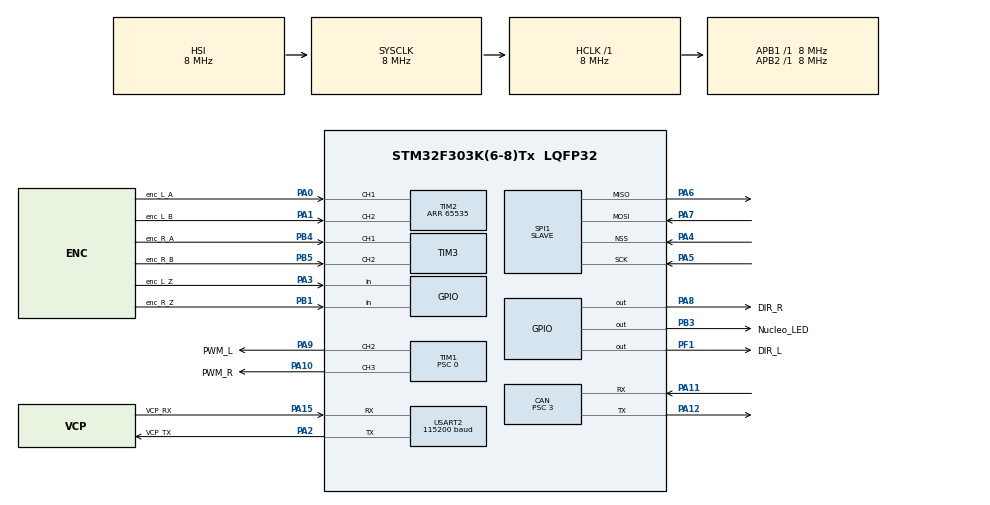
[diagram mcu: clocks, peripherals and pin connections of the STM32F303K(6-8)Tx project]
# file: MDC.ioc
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CAN.BS1=CAN_BS1_15TQ
CAN.BS2=CAN_BS2_4TQ
CAN.CalculateBaudRate=133333
CAN.CalculateTimeBit=7500
CAN.CalculateTimeQuantum=375.0
CAN.Prescaler=3
Dma.Request0=SPI1_RX
Dma.Request1=SPI1_TX
Dma.SPI1_RX.0.Direction=DMA_PERIPH_TO_MEMORY
Dma.SPI1_RX.0.Instance=DMA1_Channel2
Dma.SPI1_RX.0.MemDataAlignment=DMA_MDATAALIGN_BYTE
Dma.SPI1_RX.0.MemInc=DMA_MINC_ENABLE
Dma.SPI1_RX.0.Mode=DMA_NORMAL
Dma.SPI1_RX.0.PeriphDataAlignment=DMA_PDATAALIGN_BYTE
Dma.SPI1_RX.0.PeriphInc=DMA_PINC_DISABLE
Dma.SPI1_RX.0.Priority=DMA_PRIORITY_LOW
Dma.SPI1_TX.1.Direction=DMA_MEMORY_TO_PERIPH
Dma.SPI1_TX.1.Instance=DMA1_Channel3
Dma.SPI1_TX.1.MemDataAlignment=DMA_MDATAALIGN_BYTE
Dma.SPI1_TX.1.MemInc=DMA_MINC_ENABLE
Dma.SPI1_TX.1.Mode=DMA_NORMAL
Dma.SPI1_TX.1.PeriphDataAlignment=DMA_PDATAALIGN_BYTE
Dma.SPI1_TX.1.PeriphInc=DMA_PINC_DISABLE
Dma.SPI1_TX.1.Priority=DMA_PRIORITY_LOW
Mcu.Family=STM32F3
Mcu.Name=STM32F303K(6-8)Tx
Mcu.Package=LQFP32
NVIC.CAN_RX0_IRQn=true\:0\:0\:false\:false\:true\:true\:true\:true
NVIC.DMA1_Channel2_IRQn=true\:0\:0\:false\:false\:true\:false\:true\:true
NVIC.DMA1_Channel3_IRQn=true\:0\:0\:false\:false\:true\:false\:true\:true
NVIC.PriorityGroup=NVIC_PRIORITYGROUP_4
NVIC.TIM6_DAC1_IRQn=true\:0\:0\:true\:false\:true\:true\:true\:true
PA0.GPIO_Label=enc_L_A
PA0.Signal=S_TIM2_CH1_ETR
PA1.GPIO_Label=enc_L_B
PA1.Signal=S_TIM2_CH2
PA10.GPIO_Label=PWM_R
PA10.Signal=S_TIM1_CH3
PA11.Mode=CAN_Activate
PA11.Signal=CAN_RX
PA12.Mode=CAN_Activate
PA12.Signal=CAN_TX
PA13.GPIO_Label=SWDIO
PA13.Mode=Serial_Wire
PA13.Signal=SYS_JTMS-SWDIO
PA14.GPIO_Label=SWCLK
PA14.Mode=Serial_Wire
PA14.Signal=SYS_JTCK-SWCLK
PA15.GPIO_Label=VCP_RX
PA15.Mode=Asynchronous
PA15.Signal=USART2_RX
PA2.GPIO_Label=VCP_TX
PA2.Mode=Asynchronous
PA2.Signal=USART2_TX
PA3.GPIO_Label=enc_L_Z
PA3.Signal=GPIO_Input
PA4.Mode=NSS_Signal_Hard_Input
PA4.Signal=SPI1_NSS
PA5.Mode=Full_Duplex_Slave
PA5.Signal=SPI1_SCK
PA6.Mode=Full_Duplex_Slave
PA6.Signal=SPI1_MISO
PA7.Mode=Full_Duplex_Slave
PA7.Signal=SPI1_MOSI
PA8.GPIO_Label=DIR_R
PA8.Signal=GPIO_Output
PA9.GPIO_Label=PWM_L
PA9.Signal=S_TIM1_CH2
PB1.GPIO_Label=enc_R_Z
PB1.Signal=GPIO_Input
PB3.GPIO_Label=Nucleo_LED
PB3.Signal=GPIO_Output
PB4.GPIO_Label=enc_R_A
PB4.Signal=S_TIM3_CH1
PB5.GPIO_Label=enc_R_B
PB5.Signal=S_TIM3_CH2
PF0\ /\ OSC_IN.GPIO_Label=MCO
PF0\ /\ OSC_IN.Mode=HSE-External-Clock-Source
PF0\ /\ OSC_IN.Signal=RCC_OSC_IN
PF1\ /\ OSC_OUT.GPIO_Label=DIR_L
PF1\ /\ OSC_OUT.Signal=GPIO_Output
ProjectManager.HeapSize=0x200
ProjectManager.StackSize=0x400
ProjectManager.TargetToolchain=STM32CubeIDE
RCC.AHBFreq_Value=8000000
RCC.APB1Freq_Value=8000000
RCC.APB2Freq_Value=8000000
RCC.CortexFreq_Value=8000000
RCC.HSE_VALUE=8000000
RCC.HSI_VALUE=8000000
RCC.SYSCLKFreq_VALUE=8000000
SH.S_TIM1_CH2.0=TIM1_CH2,PWM Generation2 CH2
SH.S_TIM1_CH3.0=TIM1_CH3,PWM Generation3 CH3
SH.S_TIM2_CH1_ETR.0=TIM2_CH1,Encoder_Interface
SH.S_TIM2_CH2.0=TIM2_CH2,Encoder_Interface
SH.S_TIM3_CH1.0=TIM3_CH1,Encoder_Interface
SH.S_TIM3_CH2.0=TIM3_CH2,Encoder_Interface
SPI1.DataSize=SPI_DATASIZE_8BIT
SPI1.Direction=SPI_DIRECTION_2LINES
SPI1.Mode=SPI_MODE_SLAVE
SPI1.VirtualNSS=VM_NSSHARD
SPI1.VirtualType=VM_SLAVE
TIM1.Channel-PWM\ Generation2\ CH2=TIM_CHANNEL_2
TIM1.Channel-PWM\ Generation3\ CH3=TIM_CHANNEL_3
TIM1.Period=7999
TIM1.Prescaler=0
TIM2.EncoderMode=TIM_ENCODERMODE_TI12
TIM2.Period=65535
TIM3.EncoderMode=TIM_ENCODERMODE_TI12
TIM6.Period=7999
TIM6.Prescaler=19
TIM7.Period=7999
TIM7.Prescaler=19
USART2.BaudRate=115200
USART2.VirtualMode-Asynchronous=VM_ASYNC
VP_TIM6_VS_ClockSourceINT.Mode=Enable_Timer
VP_TIM7_VS_ClockSourceINT.Mode=Enable_Timer
board=NUCLEO-F303K8

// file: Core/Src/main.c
/* USER CODE BEGIN Header */
/**
  ******************************************************************************
  * @file           : main.c
  * @brief          : Main program body
  ******************************************************************************
  * @attention
  *
  * Copyright (c) 2024 STMicroelectronics.
  * All rights reserved.
  *
  * This software is licensed under terms that can be found in the LICENSE file
  * in the root directory of this software component.
  * If no LICENSE file comes with this software, it is provided AS-IS.
  *
  ******************************************************************************
  */
/* USER CODE END Header */
#include "main.h"

/* USER CODE BEGIN Includes */
#include <stdbool.h>
#include <stdlib.h>
#include <math.h>
#include <stdio.h>

#include "define.h"
#include "spi.h"
#include "can.h"

/* USER CODE END Includes */

CAN_HandleTypeDef hcan;

SPI_HandleTypeDef hspi1;
DMA_HandleTypeDef hdma_spi1_rx;
DMA_HandleTypeDef hdma_spi1_tx;

TIM_HandleTypeDef htim1;
TIM_HandleTypeDef htim2;
TIM_HandleTypeDef htim3;
TIM_HandleTypeDef htim6;
TIM_HandleTypeDef htim7;

UART_HandleTypeDef huart2;

void SystemClock_Config(void);
static void MX_GPIO_Init(void);
static void MX_DMA_Init(void);
static void MX_USART2_UART_Init(void);
static void MX_CAN_Init(void);
static void MX_SPI1_Init(void);
static void MX_TIM1_Init(void);
static void MX_TIM2_Init(void);
static void MX_TIM3_Init(void);
static void MX_TIM6_Init(void);
static void MX_TIM7_Init(void);

/* USER CODE BEGIN 0 */
bool g_main_loop_flag;

typedef struct{
	bool battery;
	bool command;
	bool speed;
	bool spi_timeout;
	bool power_timeout;
	bool locker_timeout;
}Error;

bool isNoError(Error e){
	return (e.battery == false)
			&& (e.command == false)
			&& (e.speed == false)
			&& (e.spi_timeout == false)
			&& (e.power_timeout == false)
			&& (e.locker_timeout == false);
}

bool errorReleaseRequest(bool sw){
	static bool last_sw = false;
	bool request;
	request = (last_sw == true) && (sw == false);
	last_sw = sw;
	return request;
}

void HAL_TIM_PeriodElapsedCallback(TIM_HandleTypeDef *htim)
{
	if(htim == &htim6)
	{
		if(g_main_loop_flag){
			printf("Control cycle is slow\r\n");
		}
		else{
			g_main_loop_flag = true;
			//printf("send state : %d\r\n",hcan.State);
			sendCanData();
		}
	}
}
/* USER CODE END 0 */

int main(void)
{

  /* MCU Configuration--------------------------------------------------------*/

  /* Reset of all peripherals, Initializes the Flash interface and the Systick. */
  HAL_Init();

  /* Configure the system clock */
  SystemClock_Config();

  /* Initialize all configured peripherals */
  MX_GPIO_Init();
  MX_DMA_Init();
  MX_USART2_UART_Init();
  MX_CAN_Init();
  MX_SPI1_Init();
  MX_TIM1_Init();
  MX_TIM2_Init();
  MX_TIM3_Init();
  MX_TIM6_Init();
  MX_TIM7_Init();
  /* USER CODE BEGIN 2 */
  HAL_Delay(100);
  	Error error = {0};
	PIDController pid;
	pid.kp = 5.0f;
	pid.ki = 0.0f;
	pid.kd = 0.0f;
	pid.kf = 3.0f;
	pid.integral_l = 0.0f;
	pid.integral_r = 0.0f;
	pid.prev_error_l = 0.0f;
	pid.prev_error_r = 0.0f;
	spiInit(&hspi1);
	canInit(&hcan);
	printf("end state : %d\r\n",hcan.State);
	HAL_TIM_Encoder_Start( &htim2, TIM_CHANNEL_ALL );
	HAL_TIM_Encoder_Start( &htim3, TIM_CHANNEL_ALL );
	HAL_TIM_PWM_Start(&htim1, TIM_CHANNEL_2);
	HAL_TIM_PWM_Start(&htim1, TIM_CHANNEL_3);
	HAL_TIM_Base_Start_IT(&htim6);
	HAL_TIM_Base_Start_IT(&htim7);
	HAL_Delay(100);
  /* USER CODE END 2 */

  /* Infinite loop */
  /* USER CODE BEGIN WHILE */
	size_t spi_timeout_cnt=0;
	size_t power_timeout_cnt=0;
	size_t locker_timeout_cnt = 0;
	bool control = false;
	bool wait_release_request = false;
  while (1)
  {
  	//wait main_loop_flag
		while(g_main_loop_flag == false){}

		//SPI
		Command command;
		command.can_command.motor_output = false;
		command.can_command.power_off = false;
		command.vel_l = 0.0f;
		command.vel_r = 0.0f;
		Result result = {0};
		if(isSpiUpdated()){
			error.spi_timeout = false;
			spi_timeout_cnt = 0;
		}
		if(spi_timeout_cnt++ >= 5) {
			error.spi_timeout = true;
		}else{
			getSpiData(&command);
		}

		//CAN
		if(isPowerUpdated()) {
			error.power_timeout = false;
			power_timeout_cnt = 0;
		}
		if(power_timeout_cnt++ >= 5) {
			error.power_timeout = true;
		}
		if(error.power_timeout == true) {
			canInit(&hcan);
			printf("power timeout\r\n");
		} else {
			getPowerCanData(&result.power_result);
		}

		if(isLockerUpdated()) {
			error.locker_timeout = false;
			locker_timeout_cnt = 0;
		}
		if(locker_timeout_cnt++ >= 5) {
			error.locker_timeout = true;
		}
		if(error.locker_timeout == true){
			canInit(&hcan);
			printf("locker timeout\r\n");
		} else{
			getLockerCanData(&result.locker_result);
		}

		command.can_command.power_off = false;
		command.can_command.motor_output = false;
		command.can_command.mode = false;
		command.can_command.pull = false;
		command.can_command.release = false;
		setCanData(&command.can_command);

		//encoder
		static int last_cnt_l;
		static int last_cnt_r;
		// todo
		int cnt_l = (int16_t)TIM2->CNT;
		int cnt_r = (int16_t)TIM3->CNT;

		if(abs(last_cnt_l - cnt_l) > 0x8000){
			if (last_cnt_l > 0 && cnt_l < 0 && (last_cnt_l - cnt_l) > 0){
				last_cnt_l -= 0x10000; //オーバーフロー
			}
			else if (last_cnt_l < 0 && cnt_l > 0 && (last_cnt_l - cnt_l) < 0){
				last_cnt_l += 0x10000; //アンダーフロー
			}
		}
		if(abs(last_cnt_r - cnt_r) > 0x8000){
			if (last_cnt_r > 0 && cnt_r < 0 && (last_cnt_r - cnt_r) > 0){
				last_cnt_r -= 0x10000; //オーバーフロー
			}
			else if (last_cnt_r < 0 && cnt_r > 0 && (last_cnt_r - cnt_r) < 0){
				last_cnt_r += 0x10000; //アンダーフロー
			}
		}
		float vel_l = ((float) (cnt_l - last_cnt_l) * ENC_TO_TIRE * RATE) / RESOLUTION;
		float vel_r = -((float) (cnt_r - last_cnt_r) * ENC_TO_TIRE * RATE) / RESOLUTION;
		last_cnt_l = cnt_l;
		last_cnt_r = cnt_r;

		//error check //todo 値決定
		if(abs(command.vel_l) > 5.0f) {
			error.command = true;
			printf("LEFT_COMMAND_ERROR : %f \r\n",command.vel_l);
		} else error.command = false;

		if(abs(command.vel_r) > 5.0f) {
			error.command = true;
			printf("RIGHT_COMMAND_ERROR : %f \r\n",command.vel_r);
		} else error.command = false;

		if(abs(vel_l) > 5.0f){
			error.speed = true;
			printf("LEFT_SPEED_ERROR : %f \r\n",vel_l);
		} else error.speed = false;

		if(abs(vel_r) > 5.0f){
			error.speed = true;
			printf("RIGHT_SPEED_ERROR : %f \r\n",vel_r);
		} else error.speed = false;

		if(result.power_result.i_bat > 80){
			error.battery = true;
			printf("OVER_CURRENT_ERROR : %d \r\n",result.power_result.i_bat);
		} else error.battery = false;

		if(result.power_result.v_bat > 400){
			static size_t n=0;
			if( n++ >10){
				error.battery = true;
				printf("OVER_VOLTAGE_ERROR : %d \r\n",result.power_result.v_bat);
			}else n=0;
		} else error.battery = false;

		if(result.power_result.v_bat < 100){
			static size_t n=0;
			if( n++ >10){
				error.battery = true;
				printf("UNDER_VOLTAGE_ERROR : %d \r\n",result.power_result.v_bat);
			}
			else n=0;
		} else error.battery = false;

		//エラー解除
		if (wait_release_request == true && isNoError(error) == true) {
			if (errorReleaseRequest(result.power_result.emergency)) {
				control = true;
				wait_release_request = false;
			} else {
				control = false;
				HAL_GPIO_TogglePin(Nucleo_LED_GPIO_Port, Nucleo_LED_Pin); //LED
				//printf("wait for Release Request\r\n");
			}
		}

		//コントロール不可
		if(isNoError(error) != true){
			control = false;
			wait_release_request = true;
			HAL_GPIO_WritePin(Nucleo_LED_GPIO_Port, Nucleo_LED_Pin, false); //LED
		}
		if(result.power_result.emergency == true){
			control = false;
			printf("EMERGENCY SWITCH IS PUSHED \r\n");
		}
		else if(result.power_result.motor_output == false){
			control = false;
			printf("MOTOR DRIVER IS NOT ACTIVE \r\n");
		}
		else if(wait_release_request == false){
			control = true;
			HAL_GPIO_WritePin(Nucleo_LED_GPIO_Port, Nucleo_LED_Pin, true); //LED
		}

		//PID control
		float volt_l;
		float volt_r;
		if (control) {
			float e_l = command.vel_l - vel_l;
			float e_r = command.vel_r - vel_r;
			if(fabsf(e_l)>10.0f) e_l = 0;
			if(fabsf(e_r)>10.0f) e_r = 0;
			pid.integral_l += e_l * DT;
			pid.integral_r += e_r * DT;
			pid.integral_l = fmaxf(fminf(pid.integral_l,2.5f),-2.5f);
			pid.integral_r = fmaxf(fminf(pid.integral_r,2.5f),-2.5f);
			volt_l = pid.kf * command.vel_l + pid.kp * e_l + pid.ki * pid.integral_l + pid.kd * (pid.prev_error_l - e_l) * RATE;
			volt_r = pid.kf * command.vel_r + pid.kp * e_r + pid.ki * pid.integral_r + pid.kd * (pid.prev_error_r - e_r) * RATE;
			pid.prev_error_l = e_l;
			pid.prev_error_r = e_r;
			//線形化 （-0.9から+0.9までの電圧ではタイヤが回らないため、特性が線形に近くなるように調整）
			if(fabsf(volt_l) > 0.1f) volt_l = (volt_l > 0.0f) ? volt_l + 3.0f : volt_l - 3.0f;
			if(fabsf(volt_r) > 0.1f) volt_r = (volt_r > 0.0f) ? volt_r + 3.0f : volt_r - 3.0f;
			volt_l = fmaxf(fminf(volt_l, 8.0f), -8.0f);
			volt_r = fmaxf(fminf(volt_r, 8.0f), -8.0f);

		}
		else{
			pid.integral_l = 0.0f;
			pid.integral_r = 0.0f;
			pid.prev_error_l = 0.0f;
			pid.prev_error_r = 0.0f;
			volt_l = 0.0f;
			volt_r = 0.0f;

		}

		//PWM
		uint32_t pwm_l;
		uint32_t pwm_r;
		bool dir_l;
		bool dir_r;
		if (control){
			pwm_l = (uint32_t)(MAX_DUTY_CNT * (fabsf(volt_l)/12.0f));
			pwm_r = (uint32_t)(MAX_DUTY_CNT * (fabsf(volt_r)/12.0f));
			dir_l = (volt_l > 0.0f) ? true : false;
			dir_r = (volt_r < 0.0f) ? true : false;
		}
		else{
			pwm_l = 0;
			pwm_r = 0;
			dir_l = false;
			dir_r = false;
		}
		__HAL_TIM_SET_COMPARE(&htim1, TIM_CHANNEL_2, pwm_l);
		__HAL_TIM_SET_COMPARE(&htim1, TIM_CHANNEL_3, pwm_r);
		HAL_GPIO_WritePin(DIR_L_GPIO_Port, DIR_L_Pin, dir_l);
		HAL_GPIO_WritePin(DIR_R_GPIO_Port, DIR_R_Pin, dir_r);

		//SPI
		result.vel_l = vel_l;
		result.vel_r = vel_r;
		result.cnt_l = TIM2->CNT;
		result.cnt_r = TIM3->CNT;
		setSpiData(&result);

		//other

		g_main_loop_flag = false;
    /* USER CODE END WHILE */

  }
}

void SystemClock_Config(void)
{
  RCC_OscInitTypeDef RCC_OscInitStruct = {0};
  RCC_ClkInitTypeDef RCC_ClkInitStruct = {0};
  RCC_PeriphCLKInitTypeDef PeriphClkInit = {0};

  /** Initializes the RCC Oscillators according to the specified parameters
  * in the RCC_OscInitTypeDef structure.
  */
  RCC_OscInitStruct.OscillatorType = RCC_OSCILLATORTYPE_HSI;
  RCC_OscInitStruct.HSIState = RCC_HSI_ON;
  RCC_OscInitStruct.HSICalibrationValue = RCC_HSICALIBRATION_DEFAULT;
  RCC_OscInitStruct.PLL.PLLState = RCC_PLL_NONE;
  if (HAL_RCC_OscConfig(&RCC_OscInitStruct) != HAL_OK)
  {
    Error_Handler();
  }

  /** Initializes the CPU, AHB and APB buses clocks
  */
  RCC_ClkInitStruct.ClockType = RCC_CLOCKTYPE_HCLK|RCC_CLOCKTYPE_SYSCLK
                              |RCC_CLOCKTYPE_PCLK1|RCC_CLOCKTYPE_PCLK2;
  RCC_ClkInitStruct.SYSCLKSource = RCC_SYSCLKSOURCE_HSI;
  RCC_ClkInitStruct.AHBCLKDivider = RCC_SYSCLK_DIV1;
  RCC_ClkInitStruct.APB1CLKDivider = RCC_HCLK_DIV1;
  RCC_ClkInitStruct.APB2CLKDivider = RCC_HCLK_DIV1;

  if (HAL_RCC_ClockConfig(&RCC_ClkInitStruct, FLASH_LATENCY_0) != HAL_OK)
  {
    Error_Handler();
  }
  PeriphClkInit.PeriphClockSelection = RCC_PERIPHCLK_TIM1;
  PeriphClkInit.Tim1ClockSelection = RCC_TIM1CLK_HCLK;
  if (HAL_RCCEx_PeriphCLKConfig(&PeriphClkInit) != HAL_OK)
  {
    Error_Handler();
  }
}

static void MX_CAN_Init(void)
{

  hcan.Instance = CAN;
  hcan.Init.Prescaler = 3;
  hcan.Init.Mode = CAN_MODE_NORMAL;
  hcan.Init.SyncJumpWidth = CAN_SJW_1TQ;
  hcan.Init.TimeSeg1 = CAN_BS1_15TQ;
  hcan.Init.TimeSeg2 = CAN_BS2_4TQ;
  hcan.Init.TimeTriggeredMode = DISABLE;
  hcan.Init.AutoBusOff = DISABLE;
  hcan.Init.AutoWakeUp = DISABLE;
  hcan.Init.AutoRetransmission = DISABLE;
  hcan.Init.ReceiveFifoLocked = DISABLE;
  hcan.Init.TransmitFifoPriority = DISABLE;
  if (HAL_CAN_Init(&hcan) != HAL_OK)
  {
    Error_Handler();
  }

}

static void MX_SPI1_Init(void)
{

  /* SPI1 parameter configuration*/
  hspi1.Instance = SPI1;
  hspi1.Init.Mode = SPI_MODE_SLAVE;
  hspi1.Init.Direction = SPI_DIRECTION_2LINES;
  hspi1.Init.DataSize = SPI_DATASIZE_8BIT;
  hspi1.Init.CLKPolarity = SPI_POLARITY_LOW;
  hspi1.Init.CLKPhase = SPI_PHASE_1EDGE;
  hspi1.Init.NSS = SPI_NSS_HARD_INPUT;
  hspi1.Init.FirstBit = SPI_FIRSTBIT_MSB;
  hspi1.Init.TIMode = SPI_TIMODE_DISABLE;
  hspi1.Init.CRCCalculation = SPI_CRCCALCULATION_DISABLE;
  hspi1.Init.CRCPolynomial = 7;
  hspi1.Init.CRCLength = SPI_CRC_LENGTH_DATASIZE;
  hspi1.Init.NSSPMode = SPI_NSS_PULSE_DISABLE;
  if (HAL_SPI_Init(&hspi1) != HAL_OK)
  {
    Error_Handler();
  }

}

static void MX_TIM1_Init(void)
{

  TIM_MasterConfigTypeDef sMasterConfig = {0};
  TIM_OC_InitTypeDef sConfigOC = {0};
  TIM_BreakDeadTimeConfigTypeDef sBreakDeadTimeConfig = {0};

  htim1.Instance = TIM1;
  htim1.Init.Prescaler = 0;
  htim1.Init.CounterMode = TIM_COUNTERMODE_UP;
  htim1.Init.Period = 7999;
  htim1.Init.ClockDivision = TIM_CLOCKDIVISION_DIV1;
  htim1.Init.RepetitionCounter = 0;
  htim1.Init.AutoReloadPreload = TIM_AUTORELOAD_PRELOAD_DISABLE;
  if (HAL_TIM_PWM_Init(&htim1) != HAL_OK)
  {
    Error_Handler();
  }
  sMasterConfig.MasterOutputTrigger = TIM_TRGO_RESET;
  sMasterConfig.MasterOutputTrigger2 = TIM_TRGO2_RESET;
  sMasterConfig.MasterSlaveMode = TIM_MASTERSLAVEMODE_DISABLE;
  if (HAL_TIMEx_MasterConfigSynchronization(&htim1, &sMasterConfig) != HAL_OK)
  {
    Error_Handler();
  }
  sConfigOC.OCMode = TIM_OCMODE_PWM1;
  sConfigOC.Pulse = 0;
  sConfigOC.OCPolarity = TIM_OCPOLARITY_HIGH;
  sConfigOC.OCNPolarity = TIM_OCNPOLARITY_HIGH;
  sConfigOC.OCFastMode = TIM_OCFAST_DISABLE;
  sConfigOC.OCIdleState = TIM_OCIDLESTATE_RESET;
  sConfigOC.OCNIdleState = TIM_OCNIDLESTATE_RESET;
  if (HAL_TIM_PWM_ConfigChannel(&htim1, &sConfigOC, TIM_CHANNEL_2) != HAL_OK)
  {
    Error_Handler();
  }
  if (HAL_TIM_PWM_ConfigChannel(&htim1, &sConfigOC, TIM_CHANNEL_3) != HAL_OK)
  {
    Error_Handler();
  }
  sBreakDeadTimeConfig.OffStateRunMode = TIM_OSSR_DISABLE;
  sBreakDeadTimeConfig.OffStateIDLEMode = TIM_OSSI_DISABLE;
  sBreakDeadTimeConfig.LockLevel = TIM_LOCKLEVEL_OFF;
  sBreakDeadTimeConfig.DeadTime = 0;
  sBreakDeadTimeConfig.BreakState = TIM_BREAK_DISABLE;
  sBreakDeadTimeConfig.BreakPolarity = TIM_BREAKPOLARITY_HIGH;
  sBreakDeadTimeConfig.BreakFilter = 0;
  sBreakDeadTimeConfig.Break2State = TIM_BREAK2_DISABLE;
  sBreakDeadTimeConfig.Break2Polarity = TIM_BREAK2POLARITY_HIGH;
  sBreakDeadTimeConfig.Break2Filter = 0;
  sBreakDeadTimeConfig.AutomaticOutput = TIM_AUTOMATICOUTPUT_DISABLE;
  if (HAL_TIMEx_ConfigBreakDeadTime(&htim1, &sBreakDeadTimeConfig) != HAL_OK)
  {
    Error_Handler();
  }
  HAL_TIM_MspPostInit(&htim1);

}

static void MX_TIM2_Init(void)
{

  TIM_Encoder_InitTypeDef sConfig = {0};
  TIM_MasterConfigTypeDef sMasterConfig = {0};

  htim2.Instance = TIM2;
  htim2.Init.Prescaler = 0;
  htim2.Init.CounterMode = TIM_COUNTERMODE_UP;
  htim2.Init.Period = 65535;
  htim2.Init.ClockDivision = TIM_CLOCKDIVISION_DIV1;
  htim2.Init.AutoReloadPreload = TIM_AUTORELOAD_PRELOAD_DISABLE;
  sConfig.EncoderMode = TIM_ENCODERMODE_TI12;
  sConfig.IC1Polarity = TIM_ICPOLARITY_RISING;
  sConfig.IC1Selection = TIM_ICSELECTION_DIRECTTI;
  sConfig.IC1Prescaler = TIM_ICPSC_DIV1;
  sConfig.IC1Filter = 0;
  sConfig.IC2Polarity = TIM_ICPOLARITY_RISING;
  sConfig.IC2Selection = TIM_ICSELECTION_DIRECTTI;
  sConfig.IC2Prescaler = TIM_ICPSC_DIV1;
  sConfig.IC2Filter = 0;
  if (HAL_TIM_Encoder_Init(&htim2, &sConfig) != HAL_OK)
  {
    Error_Handler();
  }
  sMasterConfig.MasterOutputTrigger = TIM_TRGO_RESET;
  sMasterConfig.MasterSlaveMode = TIM_MASTERSLAVEMODE_DISABLE;
  if (HAL_TIMEx_MasterConfigSynchronization(&htim2, &sMasterConfig) != HAL_OK)
  {
    Error_Handler();
  }

}

static void MX_TIM3_Init(void)
{

  TIM_Encoder_InitTypeDef sConfig = {0};
  TIM_MasterConfigTypeDef sMasterConfig = {0};

  htim3.Instance = TIM3;
  htim3.Init.Prescaler = 0;
  htim3.Init.CounterMode = TIM_COUNTERMODE_UP;
  htim3.Init.Period = 65535;
  htim3.Init.ClockDivision = TIM_CLOCKDIVISION_DIV1;
  htim3.Init.AutoReloadPreload = TIM_AUTORELOAD_PRELOAD_DISABLE;
  sConfig.EncoderMode = TIM_ENCODERMODE_TI12;
  sConfig.IC1Polarity = TIM_ICPOLARITY_RISING;
  sConfig.IC1Selection = TIM_ICSELECTION_DIRECTTI;
  sConfig.IC1Prescaler = TIM_ICPSC_DIV1;
  sConfig.IC1Filter = 0;
  sConfig.IC2Polarity = TIM_ICPOLARITY_RISING;
  sConfig.IC2Selection = TIM_ICSELECTION_DIRECTTI;
  sConfig.IC2Prescaler = TIM_ICPSC_DIV1;
  sConfig.IC2Filter = 0;
  if (HAL_TIM_Encoder_Init(&htim3, &sConfig) != HAL_OK)
  {
    Error_Handler();
  }
  sMasterConfig.MasterOutputTrigger = TIM_TRGO_RESET;
  sMasterConfig.MasterSlaveMode = TIM_MASTERSLAVEMODE_DISABLE;
  if (HAL_TIMEx_MasterConfigSynchronization(&htim3, &sMasterConfig) != HAL_OK)
  {
    Error_Handler();
  }

}

static void MX_TIM6_Init(void)
{

  TIM_MasterConfigTypeDef sMasterConfig = {0};

  htim6.Instance = TIM6;
  htim6.Init.Prescaler = 19;
  htim6.Init.CounterMode = TIM_COUNTERMODE_UP;
  htim6.Init.Period = 7999;
  htim6.Init.AutoReloadPreload = TIM_AUTORELOAD_PRELOAD_DISABLE;
  if (HAL_TIM_Base_Init(&htim6) != HAL_OK)
  {
    Error_Handler();
  }
  sMasterConfig.MasterOutputTrigger = TIM_TRGO_RESET;
  sMasterConfig.MasterSlaveMode = TIM_MASTERSLAVEMODE_DISABLE;
  if (HAL_TIMEx_MasterConfigSynchronization(&htim6, &sMasterConfig) != HAL_OK)
  {
    Error_Handler();
  }

}

static void MX_TIM7_Init(void)
{

  TIM_MasterConfigTypeDef sMasterConfig = {0};

  htim7.Instance = TIM7;
  htim7.Init.Prescaler = 19;
  htim7.Init.CounterMode = TIM_COUNTERMODE_UP;
  htim7.Init.Period = 7999;
  htim7.Init.AutoReloadPreload = TIM_AUTORELOAD_PRELOAD_DISABLE;
  if (HAL_TIM_Base_Init(&htim7) != HAL_OK)
  {
    Error_Handler();
  }
  sMasterConfig.MasterOutputTrigger = TIM_TRGO_RESET;
  sMasterConfig.MasterSlaveMode = TIM_MASTERSLAVEMODE_DISABLE;
  if (HAL_TIMEx_MasterConfigSynchronization(&htim7, &sMasterConfig) != HAL_OK)
  {
    Error_Handler();
  }

}

static void MX_USART2_UART_Init(void)
{

  huart2.Instance = USART2;
  huart2.Init.BaudRate = 115200;
  huart2.Init.WordLength = UART_WORDLENGTH_8B;
  huart2.Init.StopBits = UART_STOPBITS_1;
  huart2.Init.Parity = UART_PARITY_NONE;
  huart2.Init.Mode = UART_MODE_TX_RX;
  huart2.Init.HwFlowCtl = UART_HWCONTROL_NONE;
  huart2.Init.OverSampling = UART_OVERSAMPLING_16;
  huart2.Init.OneBitSampling = UART_ONE_BIT_SAMPLE_DISABLE;
  huart2.AdvancedInit.AdvFeatureInit = UART_ADVFEATURE_NO_INIT;
  if (HAL_UART_Init(&huart2) != HAL_OK)
  {
    Error_Handler();
  }

}

static void MX_DMA_Init(void)
{

  /* DMA controller clock enable */
  __HAL_RCC_DMA1_CLK_ENABLE();

  /* DMA interrupt init */
  /* DMA1_Channel2_IRQn interrupt configuration */
  HAL_NVIC_SetPriority(DMA1_Channel2_IRQn, 0, 0);
  HAL_NVIC_EnableIRQ(DMA1_Channel2_IRQn);
  /* DMA1_Channel3_IRQn interrupt configuration */
  HAL_NVIC_SetPriority(DMA1_Channel3_IRQn, 0, 0);
  HAL_NVIC_EnableIRQ(DMA1_Channel3_IRQn);

}

static void MX_GPIO_Init(void)
{
  GPIO_InitTypeDef GPIO_InitStruct = {0};

  /* GPIO Ports Clock Enable */
  __HAL_RCC_GPIOF_CLK_ENABLE();
  __HAL_RCC_GPIOA_CLK_ENABLE();
  __HAL_RCC_GPIOB_CLK_ENABLE();

  /*Configure GPIO pin Output Level */
  HAL_GPIO_WritePin(DIR_L_GPIO_Port, DIR_L_Pin, GPIO_PIN_RESET);

  /*Configure GPIO pin Output Level */
  HAL_GPIO_WritePin(DIR_R_GPIO_Port, DIR_R_Pin, GPIO_PIN_RESET);

  /*Configure GPIO pin Output Level */
  HAL_GPIO_WritePin(Nucleo_LED_GPIO_Port, Nucleo_LED_Pin, GPIO_PIN_RESET);

  /*Configure GPIO pin : DIR_L_Pin */
  GPIO_InitStruct.Pin = DIR_L_Pin;
  GPIO_InitStruct.Mode = GPIO_MODE_OUTPUT_PP;
  GPIO_InitStruct.Pull = GPIO_NOPULL;
  GPIO_InitStruct.Speed = GPIO_SPEED_FREQ_LOW;
  HAL_GPIO_Init(DIR_L_GPIO_Port, &GPIO_InitStruct);

  /*Configure GPIO pin : enc_L_Z_Pin */
  GPIO_InitStruct.Pin = enc_L_Z_Pin;
  GPIO_InitStruct.Mode = GPIO_MODE_INPUT;
  GPIO_InitStruct.Pull = GPIO_NOPULL;
  HAL_GPIO_Init(enc_L_Z_GPIO_Port, &GPIO_InitStruct);

  /*Configure GPIO pin : enc_R_Z_Pin */
  GPIO_InitStruct.Pin = enc_R_Z_Pin;
  GPIO_InitStruct.Mode = GPIO_MODE_INPUT;
  GPIO_InitStruct.Pull = GPIO_NOPULL;
  HAL_GPIO_Init(enc_R_Z_GPIO_Port, &GPIO_InitStruct);

  /*Configure GPIO pin : DIR_R_Pin */
  GPIO_InitStruct.Pin = DIR_R_Pin;
  GPIO_InitStruct.Mode = GPIO_MODE_OUTPUT_PP;
  GPIO_InitStruct.Pull = GPIO_NOPULL;
  GPIO_InitStruct.Speed = GPIO_SPEED_FREQ_LOW;
  HAL_GPIO_Init(DIR_R_GPIO_Port, &GPIO_InitStruct);

  /*Configure GPIO pin : Nucleo_LED_Pin */
  GPIO_InitStruct.Pin = Nucleo_LED_Pin;
  GPIO_InitStruct.Mode = GPIO_MODE_OUTPUT_PP;
  GPIO_InitStruct.Pull = GPIO_NOPULL;
  GPIO_InitStruct.Speed = GPIO_SPEED_FREQ_LOW;
  HAL_GPIO_Init(Nucleo_LED_GPIO_Port, &GPIO_InitStruct);

}

/* USER CODE BEGIN 4 */
int _write(int file, char *ptr, int len)
{
  HAL_UART_Transmit(&huart2,(uint8_t *)ptr,len,10);
  return len;
}
/* USER CODE END 4 */

void Error_Handler(void)
{
  __disable_irq();
  while (1)
  {
  }
}
